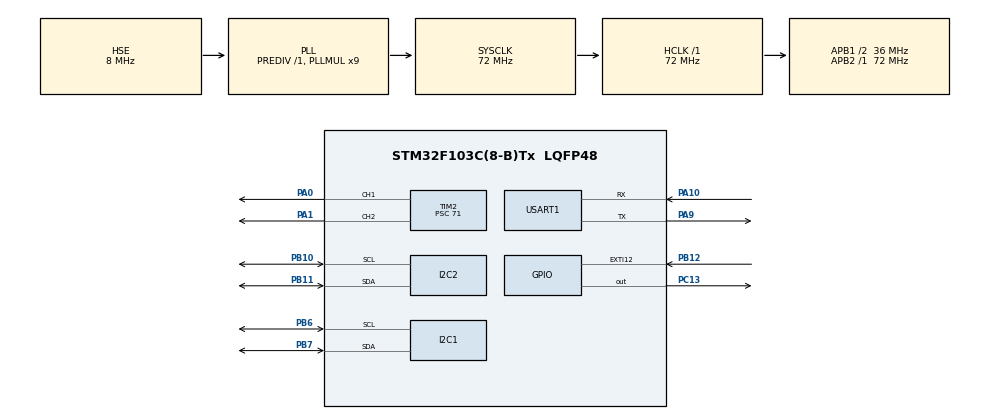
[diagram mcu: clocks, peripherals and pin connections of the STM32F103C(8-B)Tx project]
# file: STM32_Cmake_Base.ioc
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Mcu.Family=STM32F1
Mcu.Name=STM32F103C(8-B)Tx
Mcu.Package=LQFP48
NVIC.EXTI15_10_IRQn=true\:1\:0\:true\:false\:true\:true\:true\:true
NVIC.PriorityGroup=NVIC_PRIORITYGROUP_4
PA0-WKUP.Signal=S_TIM2_CH1_ETR
PA1.Signal=S_TIM2_CH2
PA10.Mode=Asynchronous
PA10.Signal=USART1_RX
PA13.Mode=Serial_Wire
PA13.Signal=SYS_JTMS-SWDIO
PA14.Mode=Serial_Wire
PA14.Signal=SYS_JTCK-SWCLK
PA9.Mode=Asynchronous
PA9.Signal=USART1_TX
PB10.Mode=I2C
PB10.Signal=I2C2_SCL
PB11.Mode=I2C
PB11.Signal=I2C2_SDA
PB12.Signal=GPXTI12
PB6.Mode=I2C
PB6.Signal=I2C1_SCL
PB7.Mode=I2C
PB7.Signal=I2C1_SDA
PC13-TAMPER-RTC.Signal=GPIO_Output
PD0-OSC_IN.Mode=HSE-External-Oscillator
PD0-OSC_IN.Signal=RCC_OSC_IN
PD1-OSC_OUT.Mode=HSE-External-Oscillator
PD1-OSC_OUT.Signal=RCC_OSC_OUT
ProjectManager.HeapSize=0x200
ProjectManager.StackSize=0x400
ProjectManager.TargetToolchain=CMake
RCC.AHBFreq_Value=72000000
RCC.APB1CLKDivider=RCC_HCLK_DIV2
RCC.APB1Freq_Value=36000000
RCC.APB1TimFreq_Value=72000000
RCC.APB2Freq_Value=72000000
RCC.APB2TimFreq_Value=72000000
RCC.HCLKFreq_Value=72000000
RCC.PLLMUL=RCC_PLL_MUL9
RCC.PLLSourceVirtual=RCC_PLLSOURCE_HSE
RCC.SYSCLKFreq_VALUE=72000000
RCC.SYSCLKSource=RCC_SYSCLKSOURCE_PLLCLK
RCC.USBFreq_Value=72000000
SH.S_TIM2_CH1_ETR.0=TIM2_CH1,PWM Generation1 CH1
SH.S_TIM2_CH2.0=TIM2_CH2,PWM Generation2 CH2
TIM2.Channel-PWM\ Generation1\ CH1=TIM_CHANNEL_1
TIM2.Channel-PWM\ Generation2\ CH2=TIM_CHANNEL_2
TIM2.Period=19999
TIM2.Prescaler=71
TIM2.Pulse-PWM\ Generation1\ CH1=1500
USART1.VirtualMode=VM_ASYNC
board=custom

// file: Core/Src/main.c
/* USER CODE BEGIN Header */
/**
  ******************************************************************************
  * @file           : main.c
  * @brief          : Main program body
  ******************************************************************************
  * @attention
  *
  * Copyright (c) 2026 STMicroelectronics.
  * All rights reserved.
  *
  * This software is licensed under terms that can be found in the LICENSE file
  * in the root directory of this software component.
  * If no LICENSE file comes with this software, it is provided AS-IS.
  *
  ******************************************************************************
  */
/* USER CODE END Header */
#include "main.h"
#include "i2c.h"
#include "tim.h"
#include "usart.h"
#include "gpio.h"

/* USER CODE BEGIN Includes */
#include "mpu6050.h"
#include "servo.h"
#include "gimbal.h"
#include "stdio.h"
/* USER CODE END Includes */

void SystemClock_Config(void);
/* USER CODE BEGIN PFP */
void I2C_Bus_Clear(void);
/* USER CODE END PFP */

int main(void)
{

  /* MCU Configuration--------------------------------------------------------*/

  /* Reset of all peripherals, Initializes the Flash interface and the Systick. */
  HAL_Init();

  /* Configure the system clock */
  SystemClock_Config();

  /* Initialize all configured peripherals */
  MX_GPIO_Init();

  I2C_Bus_Clear();

  MX_I2C1_Init();
  MX_USART1_UART_Init();
  MX_TIM2_Init();
  MX_I2C2_Init();
  /* USER CODE BEGIN 2 */
  mpu6050_Init();
  HAL_Delay(10000);
  mpu6050_Calibrate();
  mpu6050_TimingInit();
  Servo_Init();

  Servo_SetAngle(SERVO_1, 100.0f); // Servo 1: Roll -> center
  Servo_SetAngle(SERVO_2, 90.0f); // Servo 2: Pitch -> center

  Gimbal_Init();

  static uint32_t last_uart_tick = 0;
  /* USER CODE END 2 */

  /* Infinite loop */
  /* USER CODE BEGIN WHILE */
  while (1)
  {
   if (mpu6050_dataReady ||
        HAL_GPIO_ReadPin(MPU6050_INT_PORT, MPU6050_PIN_INT) == GPIO_PIN_SET)
    {
        mpu6050_dataReady = 0;

        if (mpu6050_readMotion6())
        {
            float dt = mpu6050_GetDeltaTime();

            mpu6050_updateQuaternion(dt);
            Gimbal_Update(dt);

            if (HAL_GetTick() - last_uart_tick >= 20)
            {
                last_uart_tick = HAL_GetTick();
                MPU6050_SendEulerUART();
            }
        }
    }
    /* USER CODE END WHILE */

  }
}

void SystemClock_Config(void)
{
  RCC_OscInitTypeDef RCC_OscInitStruct = {0};
  RCC_ClkInitTypeDef RCC_ClkInitStruct = {0};

  /** Initializes the RCC Oscillators according to the specified parameters
  * in the RCC_OscInitTypeDef structure.
  */
  RCC_OscInitStruct.OscillatorType = RCC_OSCILLATORTYPE_HSE;
  RCC_OscInitStruct.HSEState = RCC_HSE_ON;
  RCC_OscInitStruct.HSEPredivValue = RCC_HSE_PREDIV_DIV1;
  RCC_OscInitStruct.HSIState = RCC_HSI_ON;
  RCC_OscInitStruct.PLL.PLLState = RCC_PLL_ON;
  RCC_OscInitStruct.PLL.PLLSource = RCC_PLLSOURCE_HSE;
  RCC_OscInitStruct.PLL.PLLMUL = RCC_PLL_MUL9;
  if (HAL_RCC_OscConfig(&RCC_OscInitStruct) != HAL_OK)
  {
    Error_Handler();
  }

  /** Initializes the CPU, AHB and APB buses clocks
  */
  RCC_ClkInitStruct.ClockType = RCC_CLOCKTYPE_HCLK|RCC_CLOCKTYPE_SYSCLK
                              |RCC_CLOCKTYPE_PCLK1|RCC_CLOCKTYPE_PCLK2;
  RCC_ClkInitStruct.SYSCLKSource = RCC_SYSCLKSOURCE_PLLCLK;
  RCC_ClkInitStruct.AHBCLKDivider = RCC_SYSCLK_DIV1;
  RCC_ClkInitStruct.APB1CLKDivider = RCC_HCLK_DIV2;
  RCC_ClkInitStruct.APB2CLKDivider = RCC_HCLK_DIV1;

  if (HAL_RCC_ClockConfig(&RCC_ClkInitStruct, FLASH_LATENCY_2) != HAL_OK)
  {
    Error_Handler();
  }
}

/* USER CODE BEGIN 4 */
void I2C_Bus_Clear(void)
{
    GPIO_InitTypeDef GPIO_InitStruct = {0};

    // 1. Bật Clock GPIO cho chân I2C (Ví dụ PB6=SCL, PB7=SDA)
    __HAL_RCC_GPIOB_CLK_ENABLE();

    // 2. Cấu hình tạm PB6 (SCL) và PB7 (SDA) thành GPIO Output Open-Drain
    GPIO_InitStruct.Pin = GPIO_PIN_6 | GPIO_PIN_7;
    GPIO_InitStruct.Mode = GPIO_MODE_OUTPUT_OD;
    GPIO_InitStruct.Pull = GPIO_NOPULL;
    GPIO_InitStruct.Speed = GPIO_SPEED_FREQ_HIGH;
    HAL_GPIO_Init(GPIOB, &GPIO_InitStruct);

    // Kéo cả 2 chân lên HIGH
    HAL_GPIO_WritePin(GPIOB, GPIO_PIN_6, GPIO_PIN_SET);
    HAL_GPIO_WritePin(GPIOB, GPIO_PIN_7, GPIO_PIN_SET);
    HAL_Delay(1);

    // 3. Nếu SDA bị giữ LOW, dập 9 xung Clock để MPU6050 nhả bus
    for (int i = 0; i < 9; i++) {
        HAL_GPIO_WritePin(GPIOB, GPIO_PIN_6, GPIO_PIN_RESET); // SCL LOW
        HAL_Delay(1);
        HAL_GPIO_WritePin(GPIOB, GPIO_PIN_6, GPIO_PIN_SET);   // SCL HIGH
        HAL_Delay(1);
    }

    // 4. Phát điều kiện STOP (SDA từ LOW lên HIGH khi SCL đang HIGH)
    HAL_GPIO_WritePin(GPIOB, GPIO_PIN_7, GPIO_PIN_RESET);
    HAL_Delay(1);
    HAL_GPIO_WritePin(GPIOB, GPIO_PIN_6, GPIO_PIN_SET);
    HAL_Delay(1);
    HAL_GPIO_WritePin(GPIOB, GPIO_PIN_7, GPIO_PIN_SET);
    HAL_Delay(1);
}
/* USER CODE END 4 */

void Error_Handler(void)
{
  __disable_irq();
  while (1)
  {
  }
}
